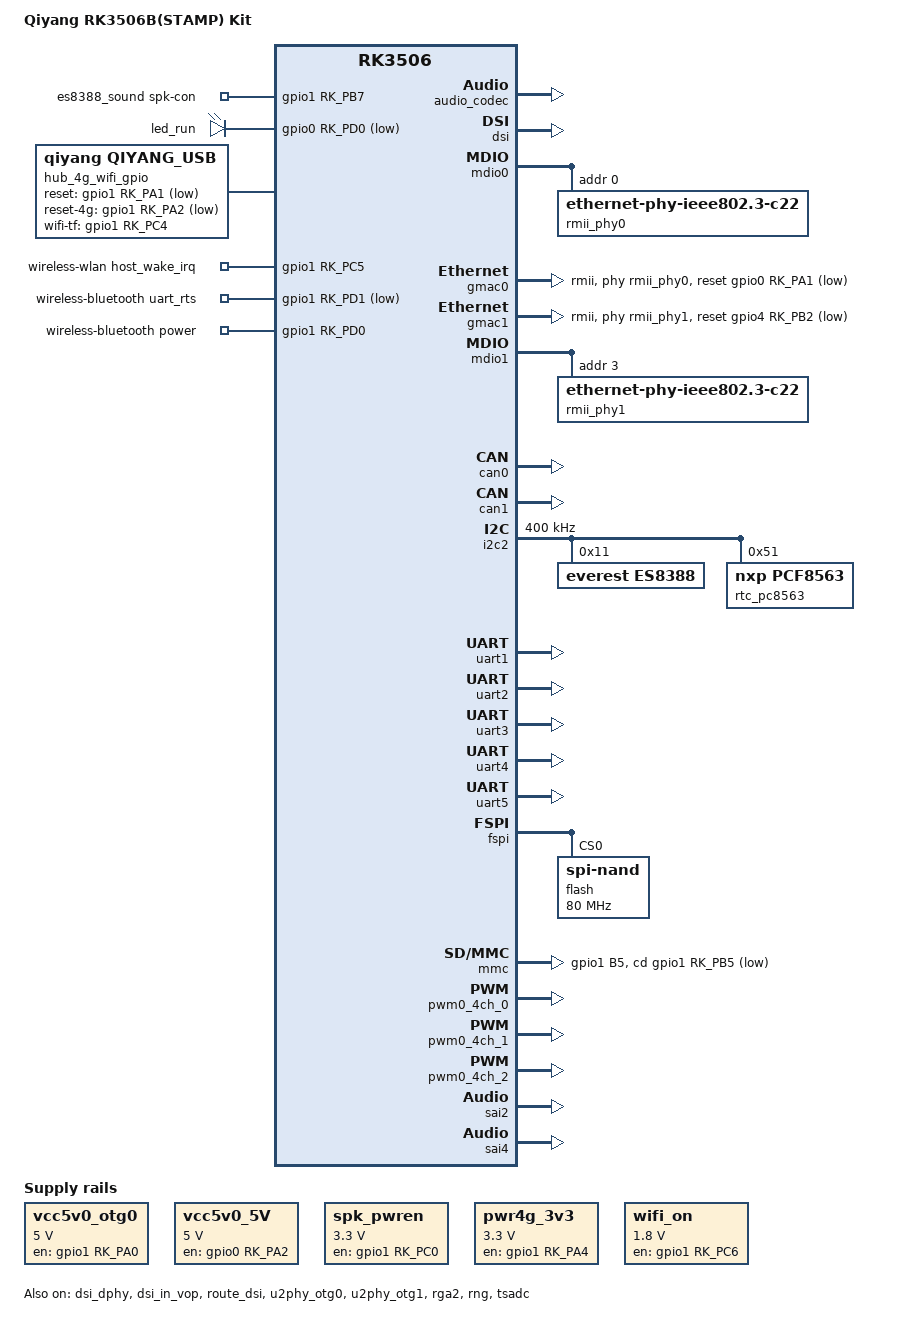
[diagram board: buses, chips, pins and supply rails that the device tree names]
// SPDX-License-Identifier: (GPL-2.0+ OR MIT)
/*
 * Copyright (c) 2024 Rockchip Electronics Co., Ltd.
 */

/dts-v1/;

#include "rk3506-luckfox-lyra-ultra.dtsi"

/ {
	model = "Qiyang RK3506B(STAMP) Kit";
	compatible = "rockchip,rk3506g-demo-display-control", "rockchip,rk3506";

	chosen {
		bootargs = "earlycon=uart8250,mmio32,0xff0a0000 console=tty1 console=ttyFIQ0 storagemedia=sd root=/dev/mmcblk0p3 rootfstype=ext4 rootwait snd_aloop.index=7 snd_aloop.use_raw_jiffies=1";
	};

	acodec_sound: acodec-sound {
		compatible = "simple-audio-card";
		simple-audio-card,name = "rockchip,acodec";
		simple-audio-card,format = "i2s";
		simple-audio-card,mclk-fs = <1024>;
		simple-audio-card,bitclock-master = <&codec_master>;
		simple-audio-card,frame-master = <&codec_master>;
		simple-audio-card,cpu {
			sound-dai = <&sai4>;
		};
		codec_master: simple-audio-card,codec {
			sound-dai = <&audio_codec>;
		};
	};

	adc_keys: adc-keys {
		compatible = "adc-keys";
		io-channels = <&saradc 1>;
		io-channel-names = "buttons";
		keyup-threshold-microvolt = <1800000>;
		poll-interval = <100>;
		status = "disabled";
		vol-up-key {
			label = "volume up";
			linux,code = <KEY_VOLUMEUP>;
			press-threshold-microvolt = <16000>;
		};

		vol-down-key {
			label = "volume down";
			linux,code = <KEY_VOLUMEDOWN>;
			press-threshold-microvolt = <420000>;
		};

		menu-key {
			label = "menu";
			linux,code = <KEY_MENU>;
			press-threshold-microvolt = <800000>;
		};

		esc-key {
			label = "esc";
			linux,code = <KEY_ESC>;
			press-threshold-microvolt = <1200000>;
		};
	};

	dsm_sound: dsm-sound {
		status = "disabled";
		compatible = "simple-audio-card";
		simple-audio-card,format = "i2s";
		simple-audio-card,mclk-fs = <256>;
		simple-audio-card,name = "rockchip,dsm-sound";
		simple-audio-card,bitclock-master = <&sndcodec>;
		simple-audio-card,frame-master = <&sndcodec>;
		sndcpu: simple-audio-card,cpu {
			sound-dai = <&sai3>;
		};
		sndcodec: simple-audio-card,codec {
			sound-dai = <&acdcdig_dsm>;
		};
	};

	es8388_sound: es8388-sound {
		status = "disabled";
		compatible = "rockchip,multicodecs-card";
		rockchip,card-name = "rockchip-es8388";
		spk-con-gpio = <&gpio1 RK_PB7 GPIO_ACTIVE_HIGH>;
		rockchip,pre-power-on-delay-ms = <30>;
		rockchip,post-power-down-delay-ms = <40>;
		rockchip,format = "i2s";
		rockchip,mclk-fs = <256>;
		rockchip,cpu = <&sai2>;
		rockchip,codec = <&es8388>;
		rockchip,audio-routing =
			"Speaker", "LOUT2",
			"Speaker", "ROUT2",
			"Speaker", "Speaker Power",
			"Speaker", "Speaker Power",
			"LINPUT1", "Main Mic",
			"RINPUT1", "Main Mic";
		pinctrl-names = "default";
		pinctrl-0 = <&spk_ctrl>;
	};

	fiq_debugger: fiq-debugger {
		compatible = "rockchip,fiq-debugger";
		rockchip,serial-id = <0>;
		rockchip,wake-irq = <0>;
		rockchip,irq-mode-enable = <1>;
		rockchip,baudrate = <1500000>;	/* Only 115200 and 1500000 */
		interrupts = <GIC_SPI 115 IRQ_TYPE_LEVEL_HIGH>;
	};

	leds: leds {
		compatible = "gpio-leds";
		pinctrl-names = "default";
		pinctrl-0 = <&pinctrl_gpio_led>;

		run_led: run {
			label = "led_run";
			gpios = <&gpio0 RK_PD0 GPIO_ACTIVE_LOW>;
			linux,default-trigger = "heartbeat";
			default-state = "off";
		};
	};

	vcc5v0_otg0: vcc5v0-otg0-regulator {
		compatible = "regulator-fixed";
		regulator-name = "vcc5v0_otg0";
		regulator-min-microvolt = <5000000>;
		regulator-max-microvolt = <5000000>;
		enable-active-high;
		gpio = <&gpio1 RK_PA0 GPIO_ACTIVE_HIGH>;
		pinctrl-names = "default";
		pinctrl-0 = <&vcc5v0_otg0_en>;
	};

	vcc5v0_5V: vcc5v0-regulator {
		compatible = "regulator-fixed";
		regulator-name = "vcc5v0_5V";
		regulator-min-microvolt = <5000000>;
		regulator-max-microvolt = <5000000>;
		gpio = <&gpio0 RK_PA2 GPIO_ACTIVE_HIGH>;
		enable-active-high;
        regulator-always-on;
		regulator-boot-on;
	};

	spk_pwren: spk_pwren-regulator {
		compatible = "regulator-fixed";
		regulator-name = "spk_pwren";
		regulator-min-microvolt = <3300000>;
		regulator-max-microvolt = <3300000>;
		gpio = <&gpio1 RK_PC0 GPIO_ACTIVE_HIGH>;
		enable-active-high;
        regulator-always-on;
		regulator-boot-on;
	};

	pwr4g_3v3: pwr4g_3v3-regulator {
		compatible = "regulator-fixed";
		regulator-name = "pwr4g_3v3";
		regulator-min-microvolt = <3300000>;
		regulator-max-microvolt = <3300000>;
		gpio = <&gpio1 RK_PA4 GPIO_ACTIVE_HIGH>;
		enable-active-high;
        regulator-always-on;
		regulator-boot-on;
	};

	hub_4g_wifi_gpio {
		compatible = "qiyang,qiyang_usb";
		pinctrl-names = "default";
        pinctrl-0 = <&pinctrl_hub_4g>;
		reset-gpios = <&gpio1 RK_PA1 GPIO_ACTIVE_LOW>;
		reset-4g-gpios = <&gpio1 RK_PA2 GPIO_ACTIVE_LOW>;
		wifi-tf-gpios = <&gpio1 RK_PC4 GPIO_ACTIVE_HIGH>;    //wifi swich tf   wifi_io swich uart 
		reset-duration = <20>;
		status = "okay";
	};

	wifi_on: wifi_on-regulator {
		compatible = "regulator-fixed";
		regulator-name = "wifi_on";
		pinctrl-names = "default";
		pinctrl-0 = <&wifi_enable_h>;
		regulator-min-microvolt = <1800000>;
		regulator-max-microvolt = <1800000>;
		gpio = <&gpio1 RK_PC6 GPIO_ACTIVE_HIGH>;
		enable-active-high;
        regulator-always-on;
		regulator-boot-on;
	};

	sdio_pwrseq: sdio-pwrseq {
		compatible = "mmc-pwrseq-simple";
	};

	wireless-wlan {
		compatible = "wlan-platdata";
		rockchip,grf = <&grf>;
		pinctrl-names = "default";
		pinctrl-0 = <&wifi_wake_host>;
		wifi_chip_type = "ap6256";
		WIFI,host_wake_irq = <&gpio1 RK_PC5 GPIO_ACTIVE_HIGH>;
		status = "okay";
	};

	wireless-bluetooth {
		compatible = "bluetooth-platdata";
		uart_rts_gpios = <&gpio1 RK_PD1 GPIO_ACTIVE_LOW>;
		pinctrl-names = "default", "rts_gpio";
		pinctrl-0 = <&uart5m1_rtsn_pins>;
		pinctrl-1 = <&uart5_gpios>;
		BT,power_gpio    = <&gpio1 RK_PD0 GPIO_ACTIVE_HIGH>;
		status = "okay";
	};

};

&audio_codec {
	status = "okay";
};

&cma {
	size = <0x1600000>;
};

&dsi {
	status = "okay";
};

&dsi_dphy {
	status = "okay";
};

&dsi_in_vop {
	status = "okay";
};

&pinctrl {
	usb {
		vcc5v0_otg0_en: vcc5v0-otg0-en {
			rockchip,pins = <1 RK_PA0 RK_FUNC_GPIO &pcfg_pull_none>;
		};

	};

	hub-4g-reset {
       pinctrl_hub_4g: pinctrl_hub_4g-reset{
           rockchip,pins =
		<1 RK_PA1 RK_FUNC_GPIO &pcfg_pull_none>,
			<1 RK_PA2 RK_FUNC_GPIO &pcfg_pull_none>;
       };
	};

	leds {
		pinctrl_gpio_led: pinctrl_gpio_led {
			rockchip,pins = <0 RK_PD0 RK_FUNC_GPIO &pcfg_pull_none>;
		};
	};
		
	sdio-pwrseq {
		wifi_enable_h: wifi-enable-h {
			rockchip,pins = <1 RK_PC6 RK_FUNC_GPIO &pcfg_pull_none>;
		};
	};

	wireless-wlan {
		wifi_wake_host: wifi-wake-host {
			rockchip,pins = <1 RK_PC5 RK_FUNC_GPIO &pcfg_pull_up>;
		};
	};

	wireless-bluetooth {
		uart5_gpios: uart5-gpios {
			rockchip,pins = <1 RK_PD1 RK_FUNC_GPIO &pcfg_pull_none>;
		};
	};
    touch {
        touch_gpio: touch-gpio {
            rockchip,pins = <1 RK_PA6 RK_FUNC_GPIO &pcfg_pull_none>,
                            <1 RK_PA7 RK_FUNC_GPIO &pcfg_pull_none>;
        };
    };

	watchdog{
        gpio_dog_pin: gpio_dog_pin{
            rockchip,pins = <1 RK_PB4 RK_FUNC_GPIO &pcfg_pull_none>;
               };
    };

	speaker {
		spk_ctrl: spk-ctrl {
			rockchip,pins = <1 RK_PB7 RK_FUNC_GPIO &pcfg_pull_none>;
		};
	};
};

&mdio0 {
	rmii_phy0: phy@0 {
		compatible = "ethernet-phy-ieee802.3-c22";
		reg = <0x0>;
		clocks = <&cru CLK_MAC_OUT>;
	};
};

&gmac0 {
	phy-mode = "rmii";
	clock_in_out = "input";

	snps,reset-gpio = <&gpio0 RK_PA1 GPIO_ACTIVE_LOW>;
	snps,reset-active-low;
	snps,reset-delays-us = <0 20000 100000>;

	pinctrl-names = "default";
	pinctrl-0 = <&eth_rmii0_miim_pins
		     &eth_rmii0_tx_bus2_pins
		     &eth_rmii0_rx_bus2_pins
		     &eth_rmii0_clk_pins
			 &eth_clk1_25m_out_pins>;

	phy-handle = <&rmii_phy0>;
	status = "okay";
};

&gmac1 {
	phy-mode = "rmii";
	clock_in_out = "input";

	snps,reset-gpio = <&gpio4 RK_PB2 GPIO_ACTIVE_LOW>;
	snps,reset-active-low;
	snps,reset-delays-us = <0 20000 1000000>;

	pinctrl-names = "default";
	pinctrl-0 = <&eth_rmii1_miim_pins
		     &eth_rmii1_tx_bus2_pins
		     &eth_rmii1_rx_bus2_pins
		     &eth_rmii1_clk_pins
			 &eth_clk0_25m_out_pins>;

	phy-handle = <&rmii_phy1>;
	status = "okay";
};

&mdio1 {
	rmii_phy1: phy@3 {
		compatible = "ethernet-phy-ieee802.3-c22";
		reg = <0x3>;
		clocks = <&cru CLK_MAC_OUT>;
	};
};
&route_dsi {
	status = "okay";
};

&sai1 {
	status = "disabled";
};

&u2phy_otg0 {
	vbus-supply = <&vcc5v0_otg0>;
	status = "okay";
};

&u2phy_otg1 {
	status = "okay";
};

&can0 {
	pinctrl-names = "default";
    pinctrl-0 = <&rm_io13_can0_tx &rm_io12_can0_rx>;
	status = "okay";
};

&can1 {
	pinctrl-names = "default";
    pinctrl-0 = <&rm_io15_can1_tx &rm_io14_can1_rx>;
	status = "okay";
};

&i2c2 {
	clock-frequency = <400000>;
	pinctrl-names = "default";
	pinctrl-0 = <&rm_io16_i2c2_sda &rm_io17_i2c2_scl>;
	status = "okay";

	es8388: es8388@11 {
		status = "disabled";
		#sound-dai-cells = <0>;
		compatible = "everest,es8388", "everest,es8323";
		reg = <0x11>;
		clocks = <&mclkout_sai2>;
		clock-names = "mclk";
		assigned-clocks = <&mclkout_sai2>;
		assigned-clock-rates = <12288000>;
		pinctrl-names = "default";
		pinctrl-0 = <&sai2m1_mclk_pins>;
	};

	rtc_pc8563: pc8563@51 {
		compatible = "nxp,pcf8563";
		reg = <0x51>;
		clock-output-names = "rtc_32k";
		status = "okay";
    };
};


&es8388 {
        status = "okay";
};

&es8388_sound {
        status = "okay";
};


&uart1 {
	pinctrl-names = "default";
	pinctrl-0 = <&rm_io10_uart1_tx &rm_io9_uart1_rx>;
	rs485-de-gpios = <&gpio0 RK_PB3 GPIO_ACTIVE_HIGH>;
	linux,rs485-enabled-at-boot-time;
	rs485-rts-active-low;
	status = "okay";
};

&uart2 {
	pinctrl-names = "default";
	pinctrl-0 = <&rm_io7_uart2_tx &rm_io6_uart2_rx>;
	rs485-de-gpios = <&gpio0 RK_PB0 GPIO_ACTIVE_HIGH>;
	linux,rs485-enabled-at-boot-time;
	rs485-rts-active-low;
	status = "okay";
};

&uart3 {
	pinctrl-names = "default";
	pinctrl-0 = <&rm_io5_uart3_tx &rm_io4_uart3_rx>;
	status = "okay";
};

&uart4 {
	pinctrl-names = "default";
	pinctrl-0 = <&rm_io3_uart4_tx &rm_io0_uart4_rx>;
	status = "okay";
};

&uart5 {
	pinctrl-names = "default";
	pinctrl-0 = <&uart5m1_xfer_pins &uart5m1_ctsn_pins>;
	status = "okay";
};

&fspi {
	status = "okay";

	flash@0 {
		compatible = "spi-nand";
		reg = <0>;
		spi-max-frequency = <80000000>;
		spi-rx-bus-width = <4>;
		spi-tx-bus-width = <1>;
	};
};

&mmc {
	no-mmc;
	supports-sd;
	//no-sd;
	max-frequency = <140000000>;
	cap-sd-highspeed;
	disable-wp;
	cd-gpios = <&gpio1 RK_PB5 GPIO_ACTIVE_LOW>;
	pinctrl-names = "default";
	pinctrl-0 = <&sdmmc_clk_pins &sdmmc_cmd_pins &sdmmc_bus4_pins &sdmmc_det>;
};

&pinctrl {
	sdmmc {
		sdmmc_det: sdmmc-det {
			rockchip,pins = <1 RK_PB5 RK_FUNC_GPIO &pcfg_pull_none>;
		};
	};

	// gpio-keys {
	// 	key_wake_up: key-wake-up {
	// 		rockchip,pins = <0 RK_PC1 RK_FUNC_GPIO &pcfg_pull_none>;
	// 	};
	// };

	// sdio-pwrseq {
	// 	wifi_enable_h: wifi-enable-h {
	// 		rockchip,pins = <0 RK_PB7 RK_FUNC_GPIO &pcfg_pull_none>;
	// 	};
	// };

	speaker {
		spk_ctrl: spk-ctrl {
			rockchip,pins = <1 RK_PB7 RK_FUNC_GPIO &pcfg_pull_none>;
		};
	};

	// wireless-bluetooth {
	// 	uart5_gpios: uart5-gpios {
	// 		rockchip,pins = <3 RK_PB5 RK_FUNC_GPIO &pcfg_pull_none>;
	// 	};
	// };

	// wireless-wlan {
	// 	wifi_wake_host: wifi-wake-host {
	// 		rockchip,pins = <0 RK_PC0 RK_FUNC_GPIO &pcfg_pull_up>;
	// 	};
	// };

};

&pwm0_4ch_0 {
	pinctrl-names = "active";
	pinctrl-0 = <&rm_io21_pwm0_ch0>;
	status = "okay";
};

&pwm0_4ch_1 {
	pinctrl-names = "active";
	pinctrl-0 = <&rm_io20_pwm0_ch1>;
	status = "okay";
};

&pwm0_4ch_2 {
	pinctrl-names = "active";
	pinctrl-0 = <&rm_io18_pwm0_ch2>;
	status = "okay";
};

&rga2 {
	status = "okay";
};

&rng {
	status = "okay";
};

&rockchip_suspend {
	rockchip,sleep-mode-config = <
		(0
		| RKPM_ARMOFF_DDRPD
		| RKPM_24M_OSC_DIS
		| RKPM_32K_CLK
		| RKPM_32K_SRC_RC
		| RKPM_PWM0_CH0_REGULATOR
		)
	>;

	rockchip,apios-suspend = <
		(0
		| RKPM_PWREN_CORE_GPIO0A2 | RKPM_PWREN_CORE_ACT_LOW
		| RKPM_PWREN_SLEEP_GPIO0A0 | RKPM_PWREN_SLEEP_ACT_LOW
		)
	>;

#define GPIO0_IOC_GPIO0A_PULL_REG	0xff950200
#define GPIO0_IOC_GPIO0B_PULL_REG	0xff950204
#define GPIO0_IOC_GPIO0C_PULL_REG	0xff950208
#define IOC0_GPIO0C5_SMT_REG		0xff950408

#define GPIO0A02_PULL_Z			0x00330000
#define GPIO0A3_PULL_DOWN		0x00c00080
#define GPIO0B0_PULL_DOWN		0x00030002
#define GPIO0C5_PULL_Z			0x0c000000
#define GPIO0C5_SMT_DISABLE		0x00200000

	/* Note: support max 16 pairs */
	rockchip,sleep-io-config = <
		GPIO0_IOC_GPIO0C_PULL_REG GPIO0C5_PULL_Z    /* PWM0_CH0_CPU */
		IOC0_GPIO0C5_SMT_REG GPIO0C5_SMT_DISABLE    /* PWM0_CH0_CPU */
		GPIO0_IOC_GPIO0A_PULL_REG GPIO0A02_PULL_Z   /* PWRCTRL0, PWRCTRL1 */
		GPIO0_IOC_GPIO0A_PULL_REG GPIO0A3_PULL_DOWN /* PWM0_CH2_LCD_BL */
		GPIO0_IOC_GPIO0B_PULL_REG GPIO0B0_PULL_DOWN /* SAI1_MCLK */
	>;
};

&sai2{
	pinctrl-names = "default";
	pinctrl-0 = <&sai2m1_lrck_pins
			     &sai2m1_sclk_pins
			     &sai2m1_sdi_pins
			     &sai2m1_sdo_pins>;
	status = "okay";
};


&sai4 {
	status = "okay";
};

&saradc {
	vref-supply = <&vcc_1v8>;
	status = "disabled";
};

&tsadc {
	status = "okay";
};
